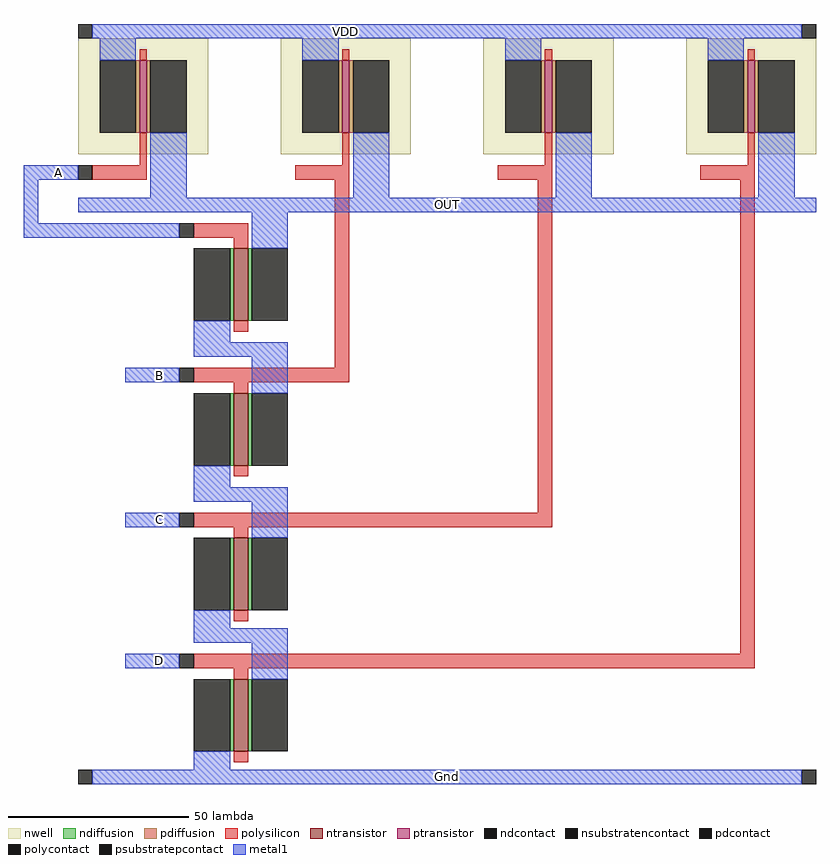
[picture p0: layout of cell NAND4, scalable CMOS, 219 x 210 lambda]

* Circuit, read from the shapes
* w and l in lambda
.subckt NAND4 A B C D Gnd OUT VDD
M1 n1 D Gnd Gnd nfet w=20 l=4
M2 n2 C n1 Gnd nfet w=20 l=4
M3 n3 B n2 Gnd nfet w=20 l=4
M4 OUT A n3 Gnd nfet w=20 l=4
M5 OUT A VDD n4 pfet w=20 l=2
M6 OUT B VDD n5 pfet w=20 l=2
M7 OUT C VDD n6 pfet w=20 l=2
M8 OUT D VDD n7 pfet w=20 l=2
.ends

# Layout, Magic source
magic
tech scmos
<< nwell >>
rect 213 137 249 169
rect 269 137 305 169
rect 325 137 361 169
rect 381 137 417 169
<< ntransistor >>
rect 256 91 260 111
rect 256 51 260 71
rect 256 11 260 31
rect 256 -28 260 -8
<< ptransistor >>
rect 230 143 232 163
rect 286 143 288 163
rect 342 143 344 163
rect 398 143 400 163
<< ndiffusion >>
rect 255 91 256 111
rect 260 91 261 111
rect 255 51 256 71
rect 260 51 261 71
rect 255 11 256 31
rect 260 11 261 31
rect 255 -28 256 -8
rect 260 -28 261 -8
<< pdiffusion >>
rect 229 143 230 163
rect 232 143 233 163
rect 285 143 286 163
rect 288 143 289 163
rect 341 143 342 163
rect 344 143 345 163
rect 397 143 398 163
rect 400 143 401 163
<< ndcontact >>
rect 245 91 255 111
rect 261 91 271 111
rect 245 51 255 71
rect 261 51 271 71
rect 245 11 255 31
rect 261 11 271 31
rect 245 -28 255 -8
rect 261 -28 271 -8
<< pdcontact >>
rect 219 143 229 163
rect 233 143 243 163
rect 275 143 285 163
rect 289 143 299 163
rect 331 143 341 163
rect 345 143 355 163
rect 387 143 397 163
rect 401 143 411 163
<< psubstratepcontact >>
rect 213 -37 217 -33
rect 413 -37 417 -33
<< nsubstratencontact >>
rect 213 169 217 173
rect 413 169 417 173
<< polysilicon >>
rect 230 163 232 166
rect 286 163 288 166
rect 342 163 344 166
rect 398 163 400 166
rect 230 134 232 143
rect 286 134 288 143
rect 342 134 344 143
rect 398 134 400 143
rect 217 130 232 134
rect 273 130 288 134
rect 329 130 344 134
rect 385 130 400 134
rect 245 114 260 118
rect 256 111 260 114
rect 256 88 260 91
rect 284 78 288 130
rect 245 74 288 78
rect 256 71 260 74
rect 256 48 260 51
rect 340 38 344 130
rect 245 34 344 38
rect 256 31 260 34
rect 256 8 260 11
rect 396 -1 400 130
rect 245 -5 400 -1
rect 256 -8 260 -5
rect 256 -31 260 -28
<< polycontact >>
rect 213 130 217 134
rect 241 114 245 118
rect 241 74 245 78
rect 241 34 245 38
rect 241 -5 245 -1
<< metal1 >>
rect 217 169 413 173
rect 219 163 229 169
rect 275 163 285 169
rect 331 163 341 169
rect 387 163 397 169
rect 198 130 213 134
rect 198 118 202 130
rect 233 125 243 143
rect 289 125 299 143
rect 345 125 355 143
rect 401 125 411 143
rect 213 121 417 125
rect 198 114 241 118
rect 261 111 271 121
rect 245 85 255 91
rect 245 81 271 85
rect 226 74 241 78
rect 261 71 271 81
rect 245 45 255 51
rect 245 41 271 45
rect 226 34 241 38
rect 261 31 271 41
rect 245 6 255 11
rect 245 2 271 6
rect 226 -5 241 -1
rect 261 -8 271 2
rect 245 -33 255 -28
rect 217 -37 413 -33
<< labels >>
rlabel metal1 198 130 217 134 1 A
rlabel metal1 226 74 245 78 1 B
rlabel metal1 213 169 361 173 5 VDD
rlabel metal1 226 34 245 38 1 C
rlabel metal1 213 121 417 125 1 OUT
rlabel metal1 226 -5 245 -1 1 D
rlabel metal1 213 -37 417 -33 1 Gnd
<< end >>
